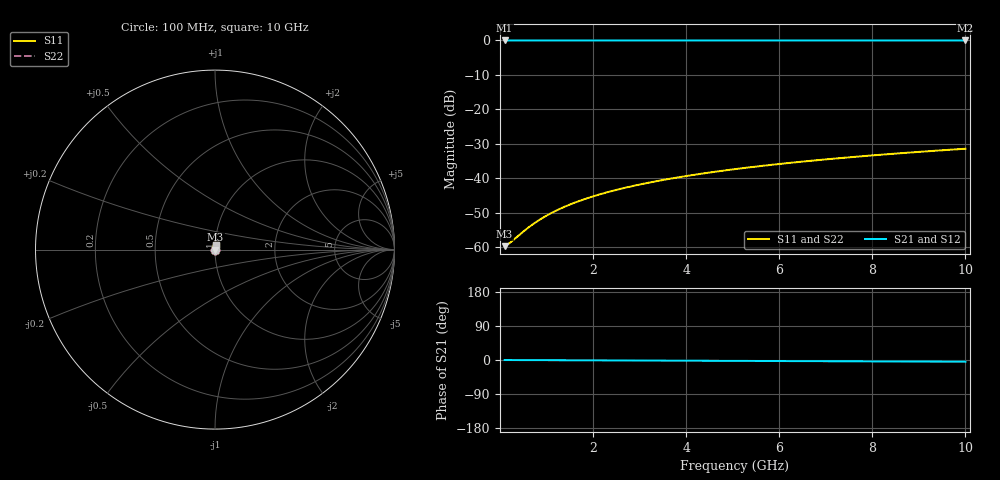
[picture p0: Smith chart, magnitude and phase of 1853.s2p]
# Hz S RI R 50.00
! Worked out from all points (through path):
!   100 points, 100 MHz to 10 GHz, reference 50 ohm
!   highest |S21| = -0.01 dB at 100 MHz (marker M1); lowest = 0.0 dB at 10 GHz (marker M2)
!   lowest |S11| = -59.7 dB at 100 MHz (marker M3), VSWR 1.00, Z = 50.1 + j0.0268 ohm
!   |S11| at or under -10 dB: start of sweep to end of sweep
!   |S22| runs from -59.7 to -31.4 dB; largest |S21 - S12| = 0
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1e8  0.001 0.000268  0.999 -0.000802  0.999 -0.000802  0.001 0.000268
2e8  0.00101 0.000536  0.999 -0.0016  0.999 -0.0016  0.00101 0.000536
6e8  0.00103 0.00161  0.999 -0.00481  0.999 -0.00481  0.00103 0.00161
7e8  0.00104 0.00187  0.999 -0.00561  0.999 -0.00561  0.00104 0.00187
9e8  0.00105 0.00241  0.9989 -0.00722  0.9989 -0.00722  0.00105 0.00241
1.1e9  0.00106 0.00294  0.9989 -0.00882  0.9989 -0.00882  0.00106 0.00294
1.3e9  0.00107 0.00348  0.9989 -0.0104  0.9989 -0.0104  0.00107 0.00348
1.5e9  0.00109 0.00402  0.9989 -0.012  0.9989 -0.012  0.00109 0.00402
1.8e9  0.00111 0.00482  0.9988 -0.0144  0.9988 -0.0144  0.00111 0.00482
2.1e9  0.00114 0.00562  0.9988 -0.0168  0.9988 -0.0168  0.00114 0.00562
2.5e9  0.00119 0.00669  0.9987 -0.0201  0.9987 -0.0201  0.00119 0.00669
2.9e9  0.00124 0.00776  0.9986 -0.0233  0.9986 -0.0233  0.00124 0.00776
3.4e9  0.00131 0.0091  0.9985 -0.0273  0.9985 -0.0273  0.00131 0.0091
3.8e9  0.00138 0.0102  0.9984 -0.0305  0.9984 -0.0305  0.00138 0.0102
4.2e9  0.00145 0.0112  0.9983 -0.0337  0.9983 -0.0337  0.00145 0.0112
4.6e9  0.00153 0.0123  0.9981 -0.0369  0.9981 -0.0369  0.00153 0.0123
5.1e9  0.00164 0.0136  0.998 -0.0409  0.998 -0.0409  0.00164 0.0136
5.9e9  0.00183 0.0158  0.9976 -0.0473  0.9976 -0.0473  0.00183 0.0158
6.7e9  0.00205 0.0179  0.9973 -0.0538  0.9973 -0.0538  0.00205 0.0179
7.5e9  0.00231 0.02  0.9968 -0.0602  0.9968 -0.0602  0.00231 0.02
8.4e9  0.00262 0.0224  0.9963 -0.0674  0.9963 -0.0674  0.00262 0.0224
1e10  0.00327 0.0267  0.9952 -0.0802  0.9952 -0.0802  0.00327 0.0267
